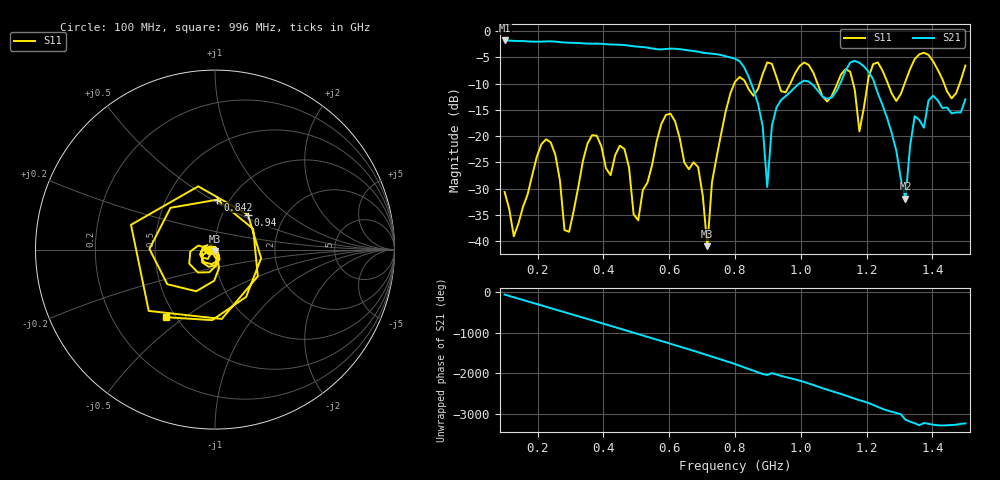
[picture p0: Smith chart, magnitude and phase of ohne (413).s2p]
! NanoVNA-App
! Date: 2025-09-25 14:24:00
! Start: 100MHz Stop: 1,5GHz Points: 101
! S-Parameter data: F S11 S21 S12 S22
# Hz S RI R 50
!  Frequency  S11_Real  S11_Imag  S21_Real  S21_Imag  S12_Real  S12_Imag  S22_Real  S22_Imag
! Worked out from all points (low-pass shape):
!   101 points, 100 MHz to 1.5 GHz, reference 50 ohm
!   highest |S21| = -1.79 dB at 100 MHz (marker M1); lowest = -31.9 dB at 1.318 GHz (marker M2)
!   |S21| within 3 dB of the highest: start of sweep to 771.3 MHz
!   lowest |S11| = -40.9 dB at 716 MHz (marker M3), VSWR 1.02, Z = 49.8 - j0.862 ohm
!   |S11| at or under -10 dB: start of sweep to 797.9 MHz; 833.1 MHz to 875.1 MHz (41.96 MHz wide, 4.91 % of centre); 1.051 GHz to 1.111 GHz (60.02 MHz wide, 5.55 % of centre)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
!   S12 and S22 are empty: the file has one direction only
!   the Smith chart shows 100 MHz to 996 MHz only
!   S11 on the Smith chart (normalised r, x): 100 MHz: 0.94, -0.01; 842 MHz: 0.88, +0.53; 940 MHz: 1.32, +0.55; 996 MHz: 0.45, -0.43
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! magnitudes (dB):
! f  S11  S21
! 100 MHz  -30.6  -1.8
! 128 MHz  -39.1  -1.9
! 226 MHz  -20.6  -2.0
! 296 MHz  -38.2  -2.2
! 338 MHz  -24.7  -2.3
! 464 MHz  -22.4  -2.7
! 506 MHz  -36.0  -3.0
! 576 MHz  -17.7  -3.5
! 688 MHz  -25.9  -3.9
! 716 MHz  -40.9  -4.2
! 800 MHz  -9.7  -5.3
! 842 MHz  -11.1  -8.8
! 898 MHz  -6.0  -29.7
! 940 MHz  -11.4  -13.1
! 996 MHz  -6.7  -9.9
! 1.038 GHz  -7.9  -10.3
! 1.178 GHz  -19.1  -6.0
! 1.22 GHz  -6.3  -9.2
! 1.276 GHz  -11.9  -19.4
! 1.318 GHz  -9.6  -31.9
! 1.346 GHz  -5.3  -16.2
! 1.5 GHz  -6.6  -13.0
